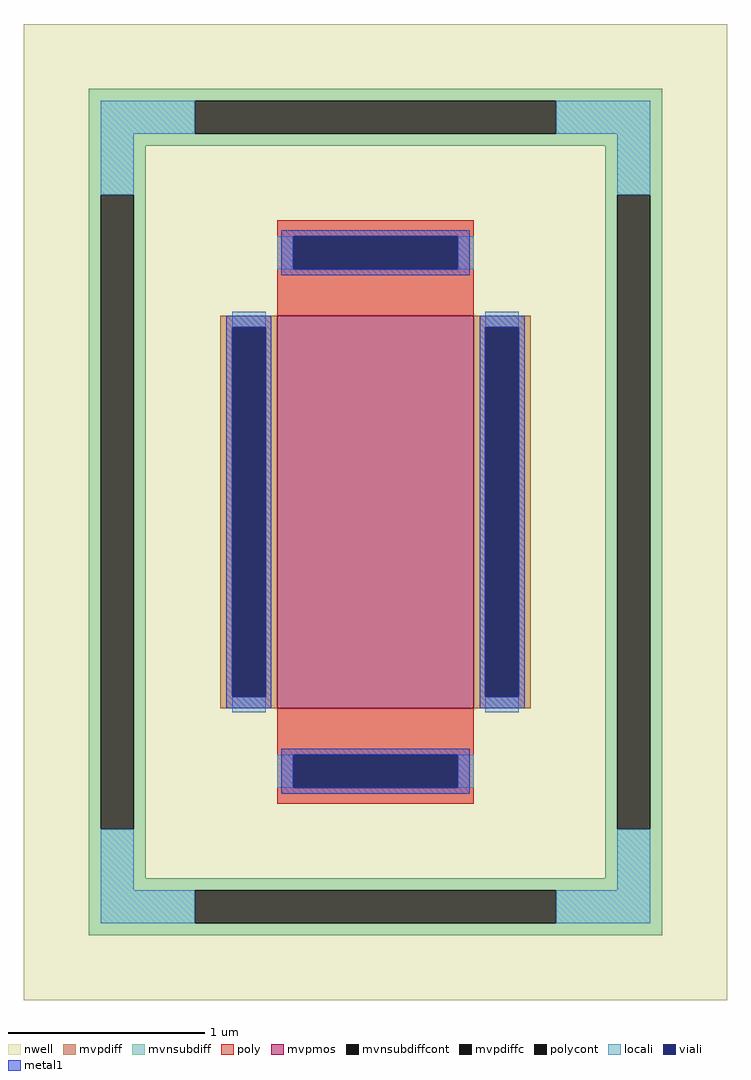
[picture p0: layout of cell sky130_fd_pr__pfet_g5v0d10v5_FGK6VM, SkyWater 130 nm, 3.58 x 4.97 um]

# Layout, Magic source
magic
tech sky130A
magscale 1 2
<< nwell >>
rect -358 -497 358 497
<< mvpmos >>
rect -100 -200 100 200
<< mvpdiff >>
rect -158 188 -100 200
rect -158 -188 -146 188
rect -112 -188 -100 188
rect -158 -200 -100 -188
rect 100 188 158 200
rect 100 -188 112 188
rect 146 -188 158 188
rect 100 -200 158 -188
<< mvpdiffc >>
rect -146 -188 -112 188
rect 112 -188 146 188
<< mvnsubdiff >>
rect -292 419 292 431
rect -292 385 -184 419
rect 184 385 292 419
rect -292 373 292 385
rect -292 323 -234 373
rect -292 -323 -280 323
rect -246 -323 -234 323
rect 234 323 292 373
rect -292 -373 -234 -323
rect 234 -323 246 323
rect 280 -323 292 323
rect 234 -373 292 -323
rect -292 -385 292 -373
rect -292 -419 -184 -385
rect 184 -419 292 -385
rect -292 -431 292 -419
<< mvnsubdiffcont >>
rect -184 385 184 419
rect -280 -323 -246 323
rect 246 -323 280 323
rect -184 -419 184 -385
<< poly >>
rect -100 281 100 297
rect -100 247 -84 281
rect 84 247 100 281
rect -100 200 100 247
rect -100 -247 100 -200
rect -100 -281 -84 -247
rect 84 -281 100 -247
rect -100 -297 100 -281
<< polycont >>
rect -84 247 84 281
rect -84 -281 84 -247
<< locali >>
rect -280 385 -184 419
rect 184 385 280 419
rect -280 323 -246 385
rect 246 323 280 385
rect -100 247 -84 281
rect 84 247 100 281
rect -146 188 -112 204
rect -146 -204 -112 -188
rect 112 188 146 204
rect 112 -204 146 -188
rect -100 -281 -84 -247
rect 84 -281 100 -247
rect -280 -385 -246 -323
rect 246 -385 280 -323
rect -280 -419 -184 -385
rect 184 -419 280 -385
<< viali >>
rect -84 247 84 281
rect -146 -188 -112 188
rect 112 -188 146 188
rect -84 -281 84 -247
<< metal1 >>
rect -96 281 96 287
rect -96 247 -84 281
rect 84 247 96 281
rect -96 241 96 247
rect -152 188 -106 200
rect -152 -188 -146 188
rect -112 -188 -106 188
rect -152 -200 -106 -188
rect 106 188 152 200
rect 106 -188 112 188
rect 146 -188 152 188
rect 106 -200 152 -188
rect -96 -247 96 -241
rect -96 -281 -84 -247
rect 84 -281 96 -247
rect -96 -287 96 -281
<< properties >>
string FIXED_BBOX -263 -402 263 402
string gencell sky130_fd_pr__pfet_g5v0d10v5
string library sky130
string parameters w 2.0 l 1.0 m 1 nf 1 diffcov 100 polycov 100 guard 1 glc 1 grc 1 gtc 1 gbc 1 tbcov 100 rlcov 100 topc 1 botc 1 poverlap 0 doverlap 1 lmin 0.50 wmin 0.42 compatible {sky130_fd_pr__pfet_01v8  sky130_fd_pr__pfet_01v8_lvt sky130_fd_pr__pfet_01v8_hvt  sky130_fd_pr__pfet_g5v0d10v5} full_metal 1 viasrc 100 viadrn 100 viagate 100 viagb 0 viagr 0 viagl 0 viagt 0
<< end >>
